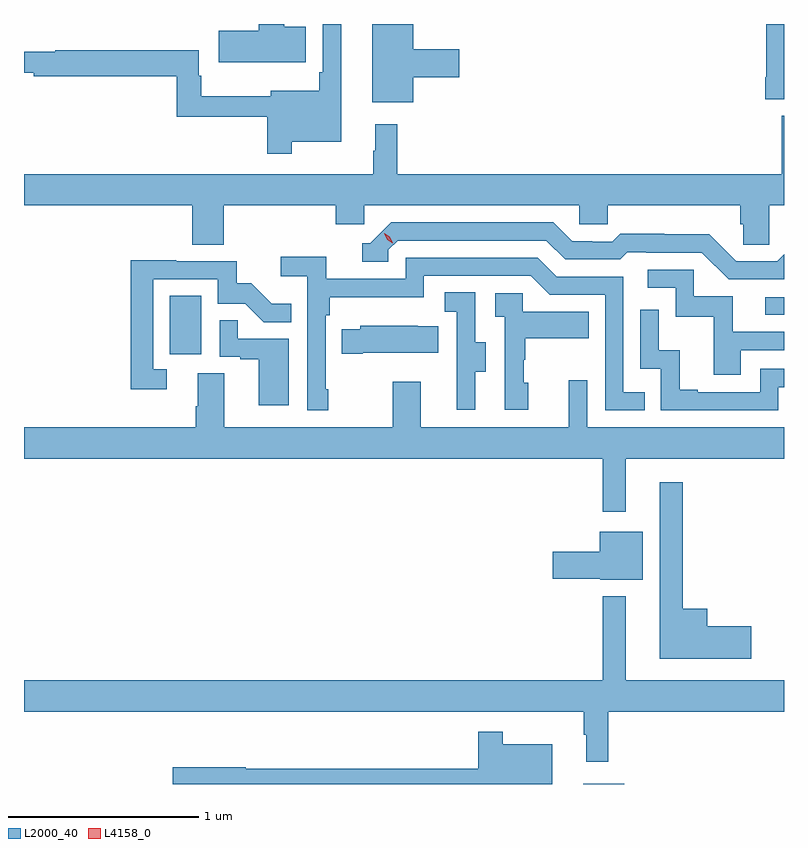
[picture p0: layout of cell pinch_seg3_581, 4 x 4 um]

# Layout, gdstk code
import gdstk
lib = gdstk.Library(unit=1e-6, precision=1e-09)
def R(c, l, rs):  # rectangles x0, y0, x1, y1
    for r in rs: c.add(gdstk.rectangle(r[:2], r[2:], *l))
def P(c, l, *ps):  # polygons
    for p in ps: c.add(gdstk.Polygon(p, *l))
L2000_40 = (2000, 40)
L4158_0 = (4158, 0)

pinch_seg3_581 = lib.new_cell('pinch_seg3_581')
R(pinch_seg3_581, L2000_40, [(1055.273,687.215,1055.488,687.217), (1053.098,689.478,1053.262,689.785), (1056.231,689.685,1056.33,689.778)])
P(pinch_seg3_581, L2000_40, [(1056.33,691.215),(1056.236,691.215),(1056.236,690.936),(1056.23,690.936),(1056.23,690.818),(1056.33,690.818)],
  [(1053.814,691.201),(1053.7,691.201),(1053.7,691.215),(1053.566,691.215),(1053.566,691.179),(1053.354,691.179),(1053.354,691.013),(1053.814,691.013)],
  [(1053.739,690.596),(1054,690.596),(1054,691.215),(1053.903,691.215),(1053.903,690.961),(1053.883,690.961),(1053.883,690.865),(1053.629,690.865),(1053.629,690.835),(1053.262,690.835),(1053.262,690.942),(1053.249,690.942),(1053.249,691.076),(1052.494,691.076),(1052.494,691.069),(1052.33,691.069),(1052.33,690.959),(1052.38,690.959),(1052.38,690.94),(1053.133,690.94),(1053.133,690.726),(1053.61,690.726),(1053.61,690.531),(1053.739,690.531)],
  [(1054.378,690.935),(1054.621,690.935),(1054.621,691.082),(1054.378,691.082),(1054.378,691.213),(1054.163,691.213),(1054.163,690.803),(1054.378,690.803)],
  [(1052.33,690.26),(1053.215,690.26),(1053.215,690.052),(1053.38,690.052),(1053.38,690.26),(1053.971,690.26),(1053.971,690.162),(1054.122,690.162),(1054.122,690.26),(1055.253,690.26),(1055.253,690.162),(1055.403,690.162),(1055.403,690.26),(1056.101,690.26),(1056.101,690.162),(1056.115,690.162),(1056.115,690.052),(1056.252,690.052),(1056.252,690.26),(1056.33,690.26),(1056.33,690.733),(1056.317,690.733),(1056.317,690.424),(1054.295,690.424),(1054.295,690.688),(1054.178,690.688),(1054.178,690.548),(1054.167,690.548),(1054.167,690.424),(1052.33,690.424)],
  [(1056.33,690.003),(1056.294,689.967),(1056.078,689.967),(1055.936,690.109),(1055.7,690.109),(1055.7,690.112),(1055.467,690.112),(1055.425,690.069),(1055.322,690.069),(1055.322,690.072),(1055.215,690.072),(1055.116,690.171),(1054.263,690.171),(1054.152,690.06),(1054.109,690.06),(1054.109,689.964),(1054.248,689.964),(1054.248,690.027),(1054.296,690.075),(1055.079,690.075),(1055.178,689.976),(1055.467,689.976),(1055.506,690.015),(1055.605,690.015),(1055.605,690.012),(1055.898,690.012),(1056.039,689.871),(1056.33,689.871)],
  [(1053.931,689.293),(1053.918,689.293),(1053.918,689.681),(1053.938,689.681),(1053.938,689.777),(1054.434,689.777),(1054.434,689.889),(1054.998,689.889),(1055.097,689.79),(1055.388,689.79),(1055.388,689.181),(1055.597,689.181),(1055.597,689.277),(1055.484,689.277),(1055.484,689.886),(1055.134,689.886),(1055.035,689.985),(1054.338,689.985),(1054.338,689.874),(1053.92,689.874),(1053.92,689.99),(1053.681,689.99),(1053.681,689.888),(1053.822,689.888),(1053.822,689.181),(1053.931,689.181)],
  [(1053.082,689.397),(1053.009,689.397),(1053.009,689.871),(1053.351,689.871),(1053.351,689.742),(1053.495,689.742),(1053.593,689.644),(1053.737,689.644),(1053.737,689.743),(1053.633,689.743),(1053.526,689.85),(1053.45,689.85),(1053.45,689.967),(1053.131,689.967),(1053.131,689.972),(1052.893,689.972),(1052.893,689.292),(1053.082,689.292)],
  [(1056.103,689.499),(1056.33,689.499),(1056.33,689.595),(1056.061,689.595),(1056.061,689.781),(1055.856,689.781),(1055.856,689.922),(1055.613,689.922),(1055.613,689.826),(1055.76,689.826),(1055.76,689.673),(1055.959,689.673),(1055.959,689.37),(1056.103,689.37)],
  [(1054.705,689.386),(1054.759,689.386),(1054.759,689.541),(1054.704,689.541),(1054.704,689.804),(1054.545,689.804),(1054.545,689.701),(1054.608,689.701),(1054.608,689.397),(1054.607,689.397),(1054.607,689.184),(1054.705,689.184)],
  [(1054.984,689.328),(1054.959,689.328),(1054.959,689.447),(1054.969,689.447),(1054.969,689.561),(1055.303,689.561),(1055.303,689.701),(1054.956,689.701),(1054.956,689.799),(1054.809,689.799),(1054.809,689.675),(1054.86,689.675),(1054.86,689.184),(1054.984,689.184)],
  [(1056.3,689.304),(1056.33,689.304),(1056.33,689.4),(1056.204,689.4),(1056.204,689.277),(1055.875,689.277),(1055.875,689.29),(1055.78,689.29),(1055.78,689.498),(1055.67,689.498),(1055.67,689.71),(1055.574,689.71),(1055.574,689.4),(1055.682,689.4),(1055.682,689.181),(1056.3,689.181)],
  [(1053.724,689.559),(1053.455,689.559),(1053.455,689.657),(1053.36,689.657),(1053.36,689.463),(1053.467,689.463),(1053.467,689.451),(1053.566,689.451),(1053.566,689.208),(1053.724,689.208)],
  [(1054.114,689.486),(1054.511,689.486),(1054.511,689.623),(1054.403,689.623),(1054.403,689.626),(1054.101,689.626),(1054.101,689.608),(1054.003,689.608),(1054.003,689.479),(1054.114,689.479)],
  [(1055.497,688.928),(1056.33,688.928),(1056.33,689.092),(1055.295,689.092),(1055.295,689.341),(1055.198,689.341),(1055.198,689.092),(1054.417,689.092),(1054.417,689.332),(1054.27,689.332),(1054.27,689.092),(1053.385,689.092),(1053.385,689.378),(1053.245,689.378),(1053.245,689.204),(1053.233,689.204),(1053.233,689.092),(1052.33,689.092),(1052.33,688.928),(1055.376,688.928),(1055.376,688.647),(1055.497,688.647)],
  [(1056.157,688.046),(1055.926,688.046),(1055.926,688.138),(1055.797,688.138),(1055.797,688.804),(1055.675,688.804),(1055.675,687.875),(1056.157,687.875)],
  [(1055.587,688.543),(1055.36,688.543),(1055.36,688.437),(1055.112,688.437),(1055.112,688.295),(1055.364,688.295),(1055.364,688.289),(1055.587,688.289)],
  [(1055.405,687.596),(1056.33,687.596),(1056.33,687.76),(1055.497,687.76),(1055.497,688.204),(1055.376,688.204),(1055.376,687.76),(1052.33,687.76),(1052.33,687.596),(1055.277,687.596),(1055.277,687.473),(1055.288,687.473),(1055.288,687.333),(1055.405,687.333)],
  [(1055.11,687.424),(1054.849,687.424),(1054.849,687.49),(1054.72,687.49),(1054.72,687.295),(1053.498,687.295),(1053.498,687.303),(1053.114,687.303),(1053.114,687.215),(1055.11,687.215)])
P(pinch_seg3_581, L4158_0, [(1054.272,690.062),(1054.241,690.08),(1054.225,690.113),(1054.225,690.113),(1054.225,690.113),(1054.256,690.094),(1054.272,690.062),(1054.272,690.062)])

lib.write_gds('pinch_seg3_581.gds')
